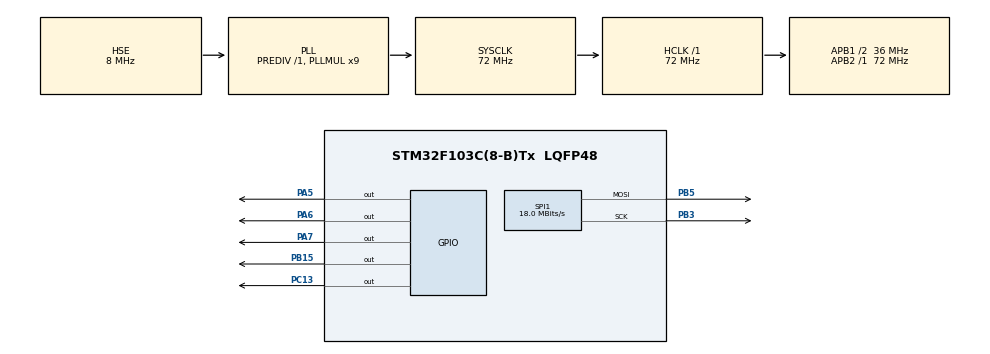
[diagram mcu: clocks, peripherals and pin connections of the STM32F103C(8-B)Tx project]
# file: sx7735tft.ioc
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Mcu.Family=STM32F1
RCC.PLLSourceVirtual=RCC_PLLSOURCE_HSE
Dma.SPI1_TX.0.MemInc=DMA_MINC_ENABLE
Dma.SPI1_TX.0.PeriphInc=DMA_PINC_DISABLE
PD1-OSC_OUT.Mode=HSE-External-Oscillator
SPI1.VirtualType=VM_MASTER
PC13-TAMPER-RTC.Signal=GPIO_Output
PD0-OSC_IN.Signal=RCC_OSC_IN
RCC.APB1CLKDivider=RCC_HCLK_DIV2
PB15.Signal=GPIO_Output
RCC.SYSCLKSource=RCC_SYSCLKSOURCE_PLLCLK
ProjectManager.StackSize=0x400
PD1-OSC_OUT.Signal=RCC_OSC_OUT
NVIC.DMA1_Channel3_IRQn=true\:0\:0\:false\:false\:true\:false\:true
PA13.Signal=SYS_JTMS-SWDIO
ProjectManager.TargetToolchain=STM32CubeIDE
SPI1.Direction=SPI_DIRECTION_2LINES
Dma.SPI1_TX.0.PeriphDataAlignment=DMA_PDATAALIGN_BYTE
RCC.HCLKFreq_Value=72000000
Dma.SPI1_TX.0.Direction=DMA_MEMORY_TO_PERIPH
RCC.APB2TimFreq_Value=72000000
SPI1.CalculateBaudRate=18.0 MBits/s
RCC.USBFreq_Value=72000000
RCC.AHBFreq_Value=72000000
PD0-OSC_IN.Mode=HSE-External-Oscillator
PA5.Signal=GPIO_Output
PB3.Mode=TX_Only_Simplex_Unidirect_Master
board=custom
RCC.PLLMUL=RCC_PLL_MUL9
RCC.APB2Freq_Value=72000000
VP_TIM2_VS_ClockSourceINT.Mode=Internal
SPI1.Mode=SPI_MODE_MASTER
PA14.Mode=Serial_Wire
PB5.Mode=TX_Only_Simplex_Unidirect_Master
NVIC.TIM2_IRQn=true\:0\:0\:false\:false\:true\:true\:true
Dma.SPI1_TX.0.Instance=DMA1_Channel3
TIM2.Period=7200
PA13.Mode=Serial_Wire
Mcu.Name=STM32F103C(8-B)Tx
Dma.SPI1_TX.0.Mode=DMA_NORMAL
PB3.Signal=SPI1_SCK
RCC.SYSCLKFreq_VALUE=72000000
Mcu.Package=LQFP48
PB5.Signal=SPI1_MOSI
TIM2.Prescaler=1000
PA6.Signal=GPIO_Output
PA14.Signal=SYS_JTCK-SWCLK
ProjectManager.HeapSize=0x200
Dma.SPI1_TX.0.Priority=DMA_PRIORITY_LOW
Dma.SPI1_TX.0.MemDataAlignment=DMA_MDATAALIGN_BYTE
NVIC.PriorityGroup=NVIC_PRIORITYGROUP_4
RCC.APB1TimFreq_Value=72000000
TIM2.AutoReloadPreload=TIM_AUTORELOAD_PRELOAD_ENABLE
Dma.Request0=SPI1_TX
RCC.APB1Freq_Value=36000000
SPI1.BaudRatePrescaler=SPI_BAUDRATEPRESCALER_4
PA7.Signal=GPIO_Output

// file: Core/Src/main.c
/* USER CODE BEGIN Header */
/**
  ******************************************************************************
  * @file           : main.c
  * @brief          : Main program body
  ******************************************************************************
  * @attention
  *
  * <h2><center>&copy; Copyright (c) 2021 STMicroelectronics.
  * All rights reserved.</center></h2>
  *
  * This software component is licensed by ST under BSD 3-Clause license,
  * the "License"; You may not use this file except in compliance with the
  * License. You may obtain a copy of the License at:
  *                        opensource.org/licenses/BSD-3-Clause
  *
  ******************************************************************************
  */
/* USER CODE END Header */
#include "main.h"

/* USER CODE BEGIN Includes */
#include "st7735.h"
#include "fonts.h"
#include "testimg.h"
#include <stdio.h>
/* USER CODE END Includes */

/* USER CODE BEGIN PD */
uint8_t r = 0;
char Str[100];
int count=0,count2=0;
/* USER CODE END PD */

SPI_HandleTypeDef hspi1;
DMA_HandleTypeDef hdma_spi1_tx;

TIM_HandleTypeDef htim2;

void SystemClock_Config(void);
static void MX_GPIO_Init(void);
static void MX_DMA_Init(void);
static void MX_SPI1_Init(void);
static void MX_TIM2_Init(void);

/* USER CODE BEGIN 0 */
void demoTFT(void)
{

	ST7735_SetRotation(r);

	 ST7735_FillScreen(ST7735_BLACK);

	 for(int x = 0; x < ST7735_GetWidth(); x++)
	 {
	   ST7735_DrawPixel(x, 0, ST7735_WHITE);
	   ST7735_DrawPixel(x, ST7735_GetHeight() - 1, ST7735_WHITE);
	 }

	 for(int y = 0; y < ST7735_GetHeight(); y++)
	 {
	   ST7735_DrawPixel(0, y, ST7735_WHITE);
	   ST7735_DrawPixel(ST7735_GetWidth() - 1, y, ST7735_WHITE);
	 }

	 ST7735_DrawLine(0, 0, ST7735_GetWidth(), ST7735_GetHeight(), ST7735_WHITE);
	 ST7735_DrawLine(ST7735_GetWidth(), 0, 0, ST7735_GetHeight(), ST7735_WHITE);

	 HAL_Delay(2000);

	 ST7735_FillScreen(ST7735_BLACK);

	 for (int i = 0; i < ST7735_GetHeight(); i += 4)
	 {
	  ST7735_DrawFastHLine(0, i, ST7735_GetWidth() - 1, ST7735_WHITE);
	 }

	 for (int i = 0; i < ST7735_GetWidth(); i += 4)
	 {
	  ST7735_DrawFastVLine(i, 0, ST7735_GetHeight() - 1, ST7735_WHITE);
	 }

	 HAL_Delay(2000);

	 // Check fonts
	 ST7735_FillScreen(ST7735_BLACK);
	 ST7735_DrawString(0, 0, "Bellmt_27x26", Bellmt_27x26, ST7735_WHITE, ST7735_BLACK);
	 HAL_Delay(1000);
	 ST7735_FillScreen(ST7735_BLACK);
	 ST7735_DrawString(0, 0, "BerlinSansFB_22x23", BerlinSansFB_22x23, ST7735_GREEN, ST7735_BLACK);
	 HAL_Delay(500);
	 ST7735_FillScreen(ST7735_BLACK);
	 ST7735_DrawString(0, 0, "Mistral_14x23",Mistral_14x23, ST7735_BLUE, ST7735_BLACK);
	 HAL_Delay(500);
	/* ST7735_FillScreen(ST7735_BLACK);
	 ST7735_DrawString(0, 0, "Segoe_Print29x43",Segoe_Print29x43, ST7735_BLUE, ST7735_BLACK);
	 HAL_Delay(500);*/

	 // Check colors
	 ST7735_FillScreen(ST7735_BLACK);
	 ST7735_DrawString(0, 0, "BLACK",Bellmt_27x26, ST7735_WHITE, ST7735_BLACK);
	 HAL_Delay(500);

	 ST7735_FillScreen(ST7735_BLUE);
	 ST7735_DrawString(0, 0, "BLUE", Bellmt_27x26, ST7735_BLACK, ST7735_BLUE);
	 HAL_Delay(500);

	 ST7735_FillScreen(ST7735_RED);
	 ST7735_DrawString(0, 0, "RED",Bellmt_27x26, ST7735_BLACK, ST7735_RED);
	 HAL_Delay(500);

	 ST7735_FillScreen(ST7735_GREEN);
	 ST7735_DrawString(0, 0, "GREEN", Bellmt_27x26, ST7735_BLACK, ST7735_GREEN);
	 HAL_Delay(500);

	 ST7735_FillScreen(ST7735_CYAN);
	 ST7735_DrawString(0, 0, "CYAN", Bellmt_27x26, ST7735_BLACK, ST7735_CYAN);
	 HAL_Delay(500);

	 ST7735_FillScreen(ST7735_MAGENTA);
	 ST7735_DrawString(0, 0, "MAGENTA", Bellmt_27x26, ST7735_BLACK, ST7735_MAGENTA);
	 HAL_Delay(500);

	 ST7735_FillScreen(ST7735_YELLOW);
	 ST7735_DrawString(0, 0, "YELLOW", Bellmt_27x26, ST7735_BLACK, ST7735_YELLOW);
	 HAL_Delay(500);

	 // Draw circles
	 ST7735_FillScreen(ST7735_BLACK);
	 for (int i = 0; i < ST7735_GetHeight() / 2; i += 2)
	 {
	  ST7735_DrawCircle(ST7735_GetWidth() / 2, ST7735_GetHeight() / 2, i, ST7735_YELLOW);
	 }
	 HAL_Delay(1000);

	 ST7735_FillScreen(ST7735_BLACK);
	 ST7735_FillTriangle(0, 0, ST7735_GetWidth() / 2, ST7735_GetHeight(), ST7735_GetWidth(), 0, ST7735_RED);
	 HAL_Delay(1000);

	/* ST7735_FillScreen(ST7735_BLACK);
	 ST7735_DrawImage(0, 0, 128, 128, (uint16_t*) test_img_128x128);
	 HAL_Delay(3000);*/

	 r++;

}
/* USER CODE END 0 */

int main(void)
{

  /* MCU Configuration--------------------------------------------------------*/

  /* Reset of all peripherals, Initializes the Flash interface and the Systick. */
  HAL_Init();

  /* Configure the system clock */
  SystemClock_Config();

  /* Initialize all configured peripherals */
  MX_GPIO_Init();
  MX_DMA_Init();
  MX_SPI1_Init();
  MX_TIM2_Init();
  /* USER CODE BEGIN 2 */
  ST7735_Init();
  ST7735_Backlight_On();
  HAL_TIM_Base_Start_IT(&htim2);

  //testAll();
  /* USER CODE END 2 */

  /* Infinite loop */
  /* USER CODE BEGIN WHILE */
  while (1)
  {
	  ST7735_FillScreen(ST7735_YELLOW);
	  ST7735_DrawString(0, 0, "Segoe_Print29x43", Segoe_Print29x43, ST7735_BLACK, ST7735_YELLOW);
	  HAL_Delay(2000);
	  ST7735_FillScreen(ST7735_BLUE);
	  ST7735_DrawString(0, 0, "Mistral_14x23", Mistral_14x23, ST7735_WHITE, ST7735_BLUE);
	  HAL_Delay(2000);
	  ST7735_FillScreen(ST7735_CYAN);
	  ST7735_DrawString(0, 0, "BerlinSansFB_22x23",BerlinSansFB_22x23, ST7735_BLACK, ST7735_CYAN);
	  HAL_Delay(2000);
	  ST7735_FillScreen(ST7735_MAGENTA);
	  ST7735_DrawString(0, 0, "Bellmt_27x26",Bellmt_27x26, ST7735_WHITE, ST7735_MAGENTA);
	  HAL_Delay(2000);

	  ST7735_FillScreen(ST7735_WHITE);
	  for(r=0;r<=100;r++){
	  ST7735_DrawString(0, 0, "Count", Bellmt_27x26, ST7735_BLACK,ST7735_WHITE);

	  sprintf(Str, "k=%d", r);
	  ST7735_DrawString(0, 26, Str, Bellmt_27x26, ST7735_BLACK,ST7735_WHITE);

	 }

    /* USER CODE END WHILE */

  }
}

void SystemClock_Config(void)
{
  RCC_OscInitTypeDef RCC_OscInitStruct = {0};
  RCC_ClkInitTypeDef RCC_ClkInitStruct = {0};

  /** Initializes the RCC Oscillators according to the specified parameters
  * in the RCC_OscInitTypeDef structure.
  */
  RCC_OscInitStruct.OscillatorType = RCC_OSCILLATORTYPE_HSE;
  RCC_OscInitStruct.HSEState = RCC_HSE_ON;
  RCC_OscInitStruct.HSEPredivValue = RCC_HSE_PREDIV_DIV1;
  RCC_OscInitStruct.HSIState = RCC_HSI_ON;
  RCC_OscInitStruct.PLL.PLLState = RCC_PLL_ON;
  RCC_OscInitStruct.PLL.PLLSource = RCC_PLLSOURCE_HSE;
  RCC_OscInitStruct.PLL.PLLMUL = RCC_PLL_MUL9;
  if (HAL_RCC_OscConfig(&RCC_OscInitStruct) != HAL_OK)
  {
    Error_Handler();
  }
  /** Initializes the CPU, AHB and APB buses clocks
  */
  RCC_ClkInitStruct.ClockType = RCC_CLOCKTYPE_HCLK|RCC_CLOCKTYPE_SYSCLK
                              |RCC_CLOCKTYPE_PCLK1|RCC_CLOCKTYPE_PCLK2;
  RCC_ClkInitStruct.SYSCLKSource = RCC_SYSCLKSOURCE_PLLCLK;
  RCC_ClkInitStruct.AHBCLKDivider = RCC_SYSCLK_DIV1;
  RCC_ClkInitStruct.APB1CLKDivider = RCC_HCLK_DIV2;
  RCC_ClkInitStruct.APB2CLKDivider = RCC_HCLK_DIV1;

  if (HAL_RCC_ClockConfig(&RCC_ClkInitStruct, FLASH_LATENCY_2) != HAL_OK)
  {
    Error_Handler();
  }
}

static void MX_SPI1_Init(void)
{

  /* SPI1 parameter configuration*/
  hspi1.Instance = SPI1;
  hspi1.Init.Mode = SPI_MODE_MASTER;
  hspi1.Init.Direction = SPI_DIRECTION_2LINES;
  hspi1.Init.DataSize = SPI_DATASIZE_8BIT;
  hspi1.Init.CLKPolarity = SPI_POLARITY_LOW;
  hspi1.Init.CLKPhase = SPI_PHASE_1EDGE;
  hspi1.Init.NSS = SPI_NSS_SOFT;
  hspi1.Init.BaudRatePrescaler = SPI_BAUDRATEPRESCALER_4;
  hspi1.Init.FirstBit = SPI_FIRSTBIT_MSB;
  hspi1.Init.TIMode = SPI_TIMODE_DISABLE;
  hspi1.Init.CRCCalculation = SPI_CRCCALCULATION_DISABLE;
  hspi1.Init.CRCPolynomial = 10;
  if (HAL_SPI_Init(&hspi1) != HAL_OK)
  {
    Error_Handler();
  }

}

static void MX_TIM2_Init(void)
{

  TIM_ClockConfigTypeDef sClockSourceConfig = {0};
  TIM_MasterConfigTypeDef sMasterConfig = {0};

  htim2.Instance = TIM2;
  htim2.Init.Prescaler = 1000;
  htim2.Init.CounterMode = TIM_COUNTERMODE_UP;
  htim2.Init.Period = 7200;
  htim2.Init.ClockDivision = TIM_CLOCKDIVISION_DIV1;
  htim2.Init.AutoReloadPreload = TIM_AUTORELOAD_PRELOAD_ENABLE;
  if (HAL_TIM_Base_Init(&htim2) != HAL_OK)
  {
    Error_Handler();
  }
  sClockSourceConfig.ClockSource = TIM_CLOCKSOURCE_INTERNAL;
  if (HAL_TIM_ConfigClockSource(&htim2, &sClockSourceConfig) != HAL_OK)
  {
    Error_Handler();
  }
  sMasterConfig.MasterOutputTrigger = TIM_TRGO_RESET;
  sMasterConfig.MasterSlaveMode = TIM_MASTERSLAVEMODE_DISABLE;
  if (HAL_TIMEx_MasterConfigSynchronization(&htim2, &sMasterConfig) != HAL_OK)
  {
    Error_Handler();
  }

}

static void MX_DMA_Init(void)
{

  /* DMA controller clock enable */
  __HAL_RCC_DMA1_CLK_ENABLE();

  /* DMA interrupt init */
  /* DMA1_Channel3_IRQn interrupt configuration */
  HAL_NVIC_SetPriority(DMA1_Channel3_IRQn, 0, 0);
  HAL_NVIC_EnableIRQ(DMA1_Channel3_IRQn);

}

static void MX_GPIO_Init(void)
{
  GPIO_InitTypeDef GPIO_InitStruct = {0};

  /* GPIO Ports Clock Enable */
  __HAL_RCC_GPIOC_CLK_ENABLE();
  __HAL_RCC_GPIOD_CLK_ENABLE();
  __HAL_RCC_GPIOA_CLK_ENABLE();
  __HAL_RCC_GPIOB_CLK_ENABLE();

  /*Configure GPIO pin Output Level */
  HAL_GPIO_WritePin(GPIOC, GPIO_PIN_13, GPIO_PIN_RESET);

  /*Configure GPIO pin Output Level */
  HAL_GPIO_WritePin(GPIOA, GPIO_PIN_5|GPIO_PIN_6|GPIO_PIN_7, GPIO_PIN_RESET);

  /*Configure GPIO pin Output Level */
  HAL_GPIO_WritePin(GPIOB, GPIO_PIN_15, GPIO_PIN_RESET);

  /*Configure GPIO pin : PC13 */
  GPIO_InitStruct.Pin = GPIO_PIN_13;
  GPIO_InitStruct.Mode = GPIO_MODE_OUTPUT_PP;
  GPIO_InitStruct.Pull = GPIO_NOPULL;
  GPIO_InitStruct.Speed = GPIO_SPEED_FREQ_LOW;
  HAL_GPIO_Init(GPIOC, &GPIO_InitStruct);

  /*Configure GPIO pins : PA5 PA6 PA7 */
  GPIO_InitStruct.Pin = GPIO_PIN_5|GPIO_PIN_6|GPIO_PIN_7;
  GPIO_InitStruct.Mode = GPIO_MODE_OUTPUT_PP;
  GPIO_InitStruct.Pull = GPIO_NOPULL;
  GPIO_InitStruct.Speed = GPIO_SPEED_FREQ_LOW;
  HAL_GPIO_Init(GPIOA, &GPIO_InitStruct);

  /*Configure GPIO pin : PB15 */
  GPIO_InitStruct.Pin = GPIO_PIN_15;
  GPIO_InitStruct.Mode = GPIO_MODE_OUTPUT_PP;
  GPIO_InitStruct.Pull = GPIO_NOPULL;
  GPIO_InitStruct.Speed = GPIO_SPEED_FREQ_LOW;
  HAL_GPIO_Init(GPIOB, &GPIO_InitStruct);

}

/* USER CODE BEGIN 4 */
void HAL_TIM_PeriodElapsedCallback(TIM_HandleTypeDef *htim2)
{

		count++;count2++;HAL_GPIO_TogglePin(GPIOB, GPIO_PIN_13);

}
/* USER CODE END 4 */

void Error_Handler(void)
{
  __disable_irq();
  while (1)
  {
  }
}

/************************ (C) COPYRIGHT STMicroelectronics *****END OF FILE****/
